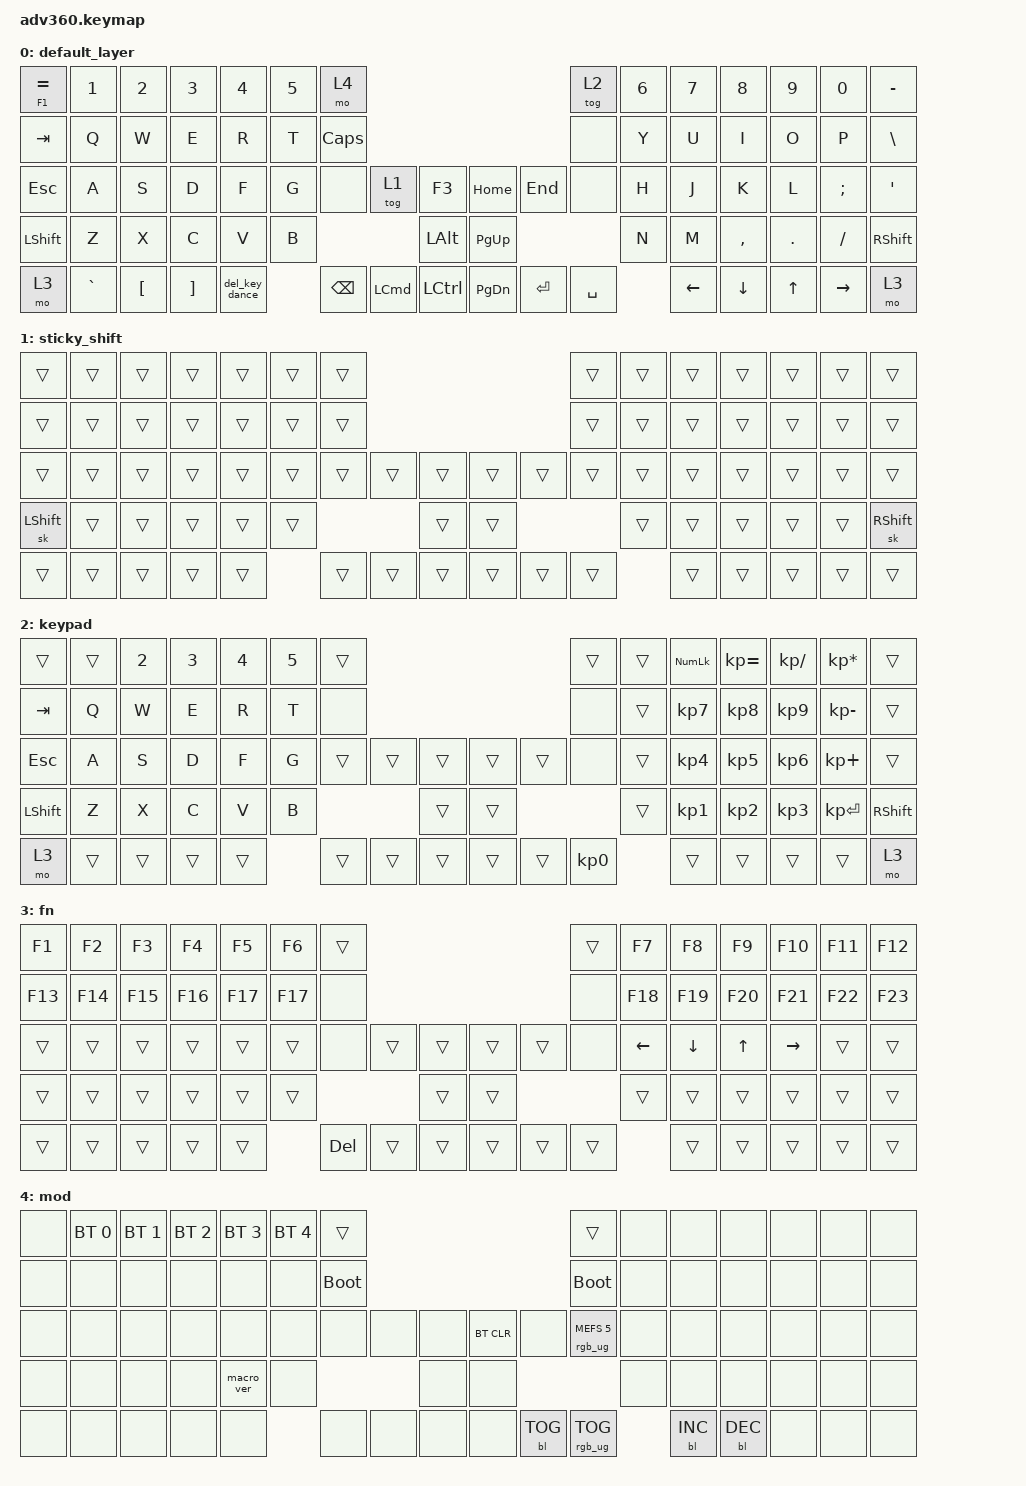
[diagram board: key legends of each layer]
#include <behaviors.dtsi>
#include <dt-bindings/zmk/backlight.h>
#include <dt-bindings/zmk/bt.h>
#include <dt-bindings/zmk/keys.h>
#include <dt-bindings/zmk/keys.h>
#include <dt-bindings/zmk/rgb.h>

/ {
    behaviors {
        #include "macros.dtsi"
      #include "version.dtsi"

        delete_line: delete_line {
            compatible = "zmk,behavior-macro";
            #binding-cells = <0>;
            bindings = <&kp LG(RIGHT) &kp LS(LG(LEFT)) &kp LG(X) &kp DEL>;
            label = "DELETE_LINE";
        };

        emacs_run: emacs_run {
            compatible = "zmk,behavior-macro";
            #binding-cells = <0>;
            bindings = <&kt LCTRL &kp X &kp K &kt LCTRL>;
            label = "EMACS_RUN";
        };

        del_key_dance: del_key_dance {
            compatible = "zmk,behavior-tap-dance";
            label = "DEL_KEY_DANCE";
            #binding-cells = <0>;
            bindings = <&sk LGUI>, <&kp LA(SPACE)>;
        };

        esc_key_dance: esc_key_dance {
            compatible = "zmk,behavior-tap-dance";
            label = "ESC_KEY_DANCE";
            #binding-cells = <0>;
            bindings = <&sk ESC>, <&kp LA(SPACE)>;
        };
    };

    macros {
    };

    combos {
        compatible = "zmk,combos";

        c_prev_combo {
            bindings = <&kp C_PREV>;
            key-positions = <8 22>;
        };

        c_pp_combo {
            bindings = <&kp C_PP>;
            key-positions = <9 23>;
        };

        c_next_combo {
            bindings = <&kp C_NEXT>;
            key-positions = <24 10>;
        };

        c_mute {
            bindings = <&kp C_MUTE>;
            key-positions = <11 25>;
        };

        c_volume_down_combo {
            bindings = <&kp C_VOLUME_DOWN>;
            key-positions = <12 26>;
        };

        c_volume_up_combo {
            bindings = <&kp C_VOLUME_UP>;
            key-positions = <13 27>;
        };
    };

    keymap {
        compatible = "zmk,keymap";

        default_layer {
            bindings = <
&mt F1 EQUAL  &kp N1     &kp N2    &kp N3    &kp N4          &kp N5  &mo 4                                                               &tog 2     &kp NUMBER_6  &kp N7    &kp N8     &kp N9   &kp N0     &kp MINUS
&kp TAB       &kp Q      &kp W     &kp E     &kp R           &kp T   &kp CAPS                                                            &none      &kp Y         &kp U     &kp I      &kp O    &kp P      &kp BSLH
&kp ESC       &kp A      &kp S     &kp D     &kp F           &kp G   &none     &tog 1            &kp F3            &kp HOME   &kp END    &none      &kp H         &kp J     &kp K      &kp L    &kp SEMI   &kp SQT
&kp LSHFT     &kp Z      &kp X     &kp C     &kp V           &kp B                               &kp LEFT_ALT      &kp PG_UP                        &kp N         &kp M     &kp COMMA  &kp DOT  &kp FSLH   &kp RSHIFT
&mo 3         &kp GRAVE  &kp LBKT  &kp RBKT  &del_key_dance          &kp BSPC  &kp LEFT_COMMAND  &kp LCTRL         &kp PG_DN  &kp ENTER  &kp SPACE                &kp LEFT  &kp DOWN   &kp UP   &kp RIGHT  &mo 3
            >;
        };

        sticky_shift {
            bindings = <
&trans          &trans  &trans  &trans  &trans  &trans  &trans                                      &trans  &trans  &trans  &trans  &trans  &trans  &trans
&trans          &trans  &trans  &trans  &trans  &trans  &trans                                      &trans  &trans  &trans  &trans  &trans  &trans  &trans
&trans          &trans  &trans  &trans  &trans  &trans  &trans  &trans  &trans      &trans  &trans  &trans  &trans  &trans  &trans  &trans  &trans  &trans
&sk LEFT_SHIFT  &trans  &trans  &trans  &trans  &trans                  &trans      &trans                  &trans  &trans  &trans  &trans  &trans  &sk RIGHT_SHIFT
&trans          &trans  &trans  &trans  &trans          &trans  &trans  &trans      &trans  &trans  &trans          &trans  &trans  &trans  &trans  &trans
            >;
        };

        keypad {
            bindings = <
&trans     &trans  &kp N2  &kp N3  &kp N4  &kp N5  &trans                                      &trans     &trans  &kp KP_NUM  &kp KP_EQUAL  &kp KP_SLASH  &kp KP_ASTERISK  &trans
&kp TAB    &kp Q   &kp W   &kp E   &kp R   &kp T   &none                                       &none      &trans  &kp KP_N7   &kp KP_N8     &kp KP_N9     &kp KP_MINUS     &trans
&kp ESC    &kp A   &kp S   &kp D   &kp F   &kp G   &trans  &trans  &trans      &trans  &trans  &none      &trans  &kp KP_N4   &kp KP_N5     &kp KP_N6     &kp KP_PLUS      &trans
&kp LSHFT  &kp Z   &kp X   &kp C   &kp V   &kp B                   &trans      &trans                     &trans  &kp KP_N1   &kp KP_N2     &kp KP_N3     &kp KP_ENTER     &kp RSHFT
&mo 3      &trans  &trans  &trans  &trans          &trans  &trans  &trans      &trans  &trans  &kp KP_N0          &trans      &trans        &trans        &trans           &mo 3
            >;
        };

        fn {
            bindings = <
&kp F1   &kp F2   &kp F3   &kp F4   &kp F5   &kp F6   &trans                                       &trans  &kp F7    &kp F8    &kp F9   &kp F10    &kp F11  &kp F12
&kp F13  &kp F14  &kp F15  &kp F16  &kp F17  &kp F17  &none                                        &none   &kp F18   &kp F19   &kp F20  &kp F21    &kp F22  &kp F23
&trans   &trans   &trans   &trans   &trans   &trans   &none    &trans  &trans      &trans  &trans  &none   &kp LEFT  &kp DOWN  &kp UP   &kp RIGHT  &trans   &trans
&trans   &trans   &trans   &trans   &trans   &trans                    &trans      &trans                  &trans    &trans    &trans   &trans     &trans   &trans
&trans   &trans   &trans   &trans   &trans            &kp DEL  &trans  &trans      &trans  &trans  &trans            &trans    &trans   &trans     &trans   &trans
            >;
        };

        mod {
            bindings = <
&none  &bt BT_SEL 0  &bt BT_SEL 1  &bt BT_SEL 2  &bt BT_SEL 3  &bt BT_SEL 4  &trans                                                 &trans                  &none  &none       &none       &none  &none  &none
&none  &none         &none         &none         &none         &none         &bootloader                                            &bootloader             &none  &none       &none       &none  &none  &none
&none  &none         &none         &none         &none         &none         &none        &none  &none      &bt BT_CLR  &none       &rgb_ug RGB_MEFS_CMD 5  &none  &none       &none       &none  &none  &none
&none  &none         &none         &none         &macro_ver    &none                             &none      &none                                           &none  &none       &none       &none  &none  &none
&none  &none         &none         &none         &none                       &none        &none  &none      &none       &bl BL_TOG  &rgb_ug RGB_TOG                &bl BL_INC  &bl BL_DEC  &none  &none  &none
            >;
        };
    };
};
